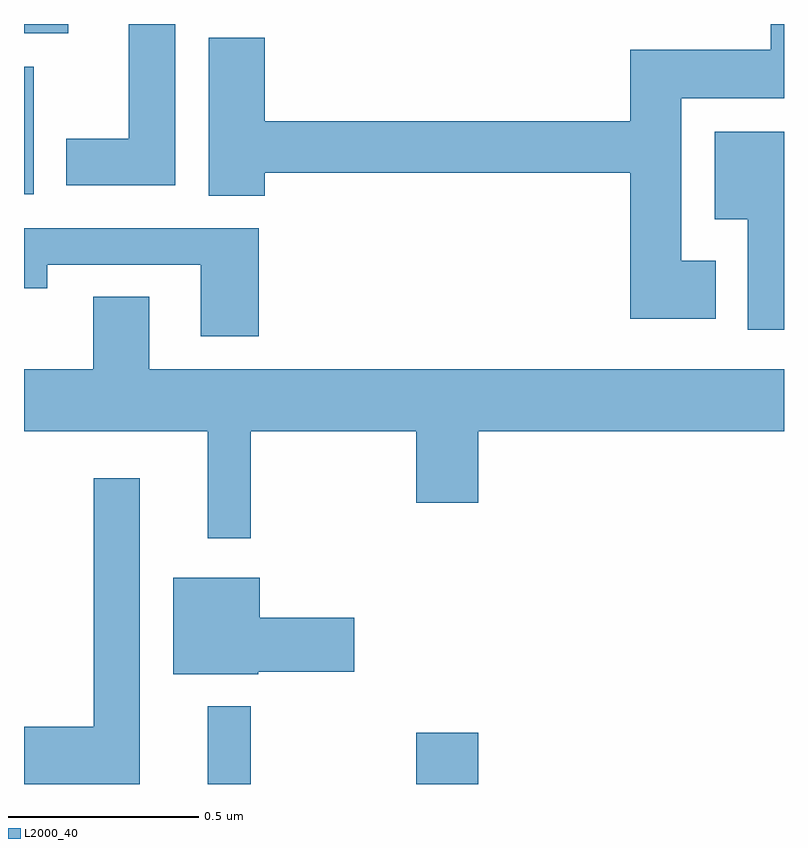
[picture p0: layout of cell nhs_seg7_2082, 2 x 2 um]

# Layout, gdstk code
import gdstk
lib = gdstk.Library(unit=1e-6, precision=1e-09)
def R(c, l, rs):  # rectangles x0, y0, x1, y1
    for r in rs: c.add(gdstk.rectangle(r[:2], r[2:], *l))
def P(c, l, *ps):  # polygons
    for p in ps: c.add(gdstk.Polygon(p, *l))
L2000_40 = (2000, 40)

nhs_seg7_2082 = lib.new_cell('nhs_seg7_2082')
R(nhs_seg7_2082, L2000_40, [(140.483,1021,140.597,1021.204), (141.032,1021,141.196,1021.135), (140,1022.552,140.026,1022.887), (140,1022.976,140.116,1023)])
P(nhs_seg7_2082, L2000_40, [(141.82,1022.377),(141.73,1022.377),(141.73,1022.804),(142,1022.804),(142,1023),(141.965,1023),(141.965,1022.932),(141.596,1022.932),(141.596,1022.744),(140.633,1022.744),(140.633,1022.964),(140.486,1022.964),(140.486,1022.548),(140.633,1022.548),(140.633,1022.608),(141.596,1022.608),(141.596,1022.225),(141.82,1022.225)],
  [(140.398,1023),(140.276,1023),(140.276,1022.698),(140.111,1022.698),(140.111,1022.576),(140.398,1022.576)],
  [(142,1022.716),(141.818,1022.716),(141.818,1022.486),(141.905,1022.486),(141.905,1022.196),(142,1022.196)],
  [(140.618,1022.463),(140,1022.463),(140,1022.304),(140.061,1022.304),(140.061,1022.367),(140.465,1022.367),(140.465,1022.178),(140.618,1022.178)],
  [(140.597,1021.928),(141.032,1021.928),(141.032,1021.74),(141.196,1021.74),(141.196,1021.928),(142,1021.928),(142,1022.092),(140.329,1022.092),(140.329,1022.282),(140.182,1022.282),(140.182,1022.092),(140,1022.092),(140,1021.928),(140.483,1021.928),(140.483,1021.647),(140.597,1021.647)],
  [(140.305,1021.804),(140.184,1021.804),(140.184,1021.151),(140,1021.151),(140,1021),(140.305,1021)],
  [(140.616,1021.295),(140.869,1021.295),(140.869,1021.437),(140.62,1021.437),(140.62,1021.543),(140.393,1021.543),(140.393,1021.289),(140.616,1021.289)])

lib.write_gds('nhs_seg7_2082.gds')
